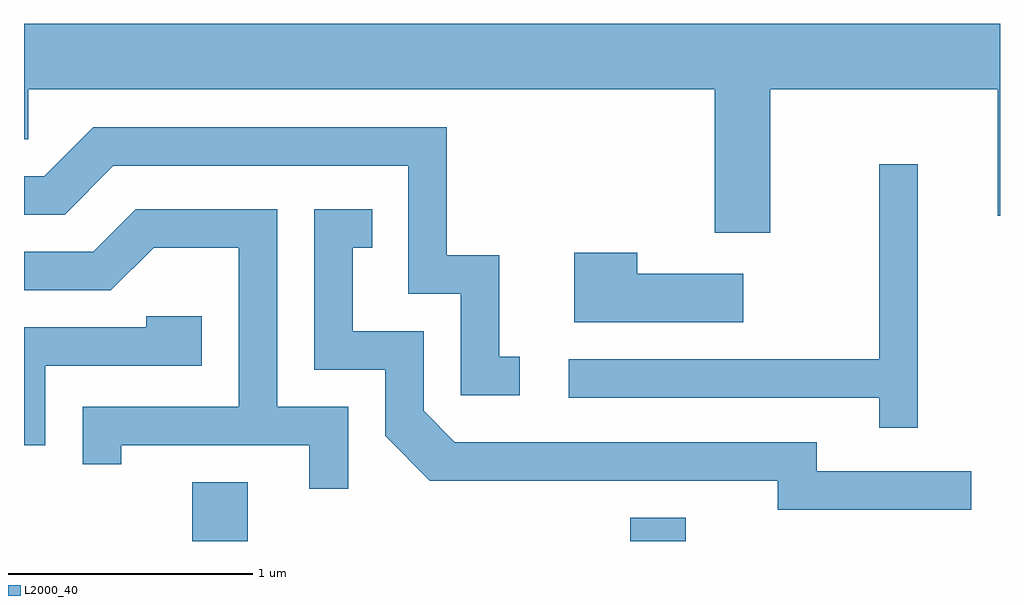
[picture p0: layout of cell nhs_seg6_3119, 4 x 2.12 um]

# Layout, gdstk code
import gdstk
lib = gdstk.Library(unit=1e-6, precision=1e-09)
def R(c, l, rs):  # rectangles x0, y0, x1, y1
    for r in rs: c.add(gdstk.rectangle(r[:2], r[2:], *l))
def P(c, l, *ps):  # polygons
    for p in ps: c.add(gdstk.Polygon(p, *l))
L2000_40 = (2000, 40)

nhs_seg6_3119 = lib.new_cell('nhs_seg6_3119')
R(nhs_seg6_3119, L2000_40, [(280.301,1568.162,280.529,1568.404), (282.096,1568.162,282.324,1568.259)])
P(nhs_seg6_3119, L2000_40, [(282.669,1570.016),(283.601,1570.016),(283.601,1569.496),(283.611,1569.496),(283.611,1570.284),(279.611,1570.284),(279.611,1569.811),(279.629,1569.811),(279.629,1570.016),(282.441,1570.016),(282.441,1569.426),(282.669,1569.426)],
  [(281.643,1568.919),(281.559,1568.919),(281.559,1569.334),(281.344,1569.334),(281.344,1569.859),(279.894,1569.859),(279.694,1569.659),(279.611,1569.659),(279.611,1569.501),(279.777,1569.501),(279.977,1569.701),(281.186,1569.701),(281.186,1569.176),(281.401,1569.176),(281.401,1568.761),(281.643,1568.761)],
  [(283.274,1569.708),(283.116,1569.708),(283.116,1568.909),(281.843,1568.909),(281.843,1568.751),(283.116,1568.751),(283.116,1568.628),(283.274,1568.628)],
  [(280.939,1568.714),(280.649,1568.714),(280.649,1569.524),(280.069,1569.524),(279.894,1569.349),(279.611,1569.349),(279.611,1569.191),(279.967,1569.191),(280.142,1569.366),(280.491,1569.366),(280.491,1568.714),(279.851,1568.714),(279.851,1568.478),(280.009,1568.478),(280.009,1568.556),(280.781,1568.556),(280.781,1568.378),(280.939,1568.378)],
  [(283.493,1568.449),(282.859,1568.449),(282.859,1568.569),(281.377,1568.569),(281.249,1568.697),(281.249,1569.024),(280.959,1569.024),(280.959,1569.366),(281.038,1569.366),(281.038,1569.524),(280.801,1569.524),(280.801,1568.866),(281.091,1568.866),(281.091,1568.594),(281.274,1568.411),(282.701,1568.411),(282.701,1568.291),(283.493,1568.291)],
  [(282.559,1569.259),(282.124,1569.259),(282.124,1569.344),(281.866,1569.344),(281.866,1569.061),(282.559,1569.061)],
  [(279.699,1568.881),(280.339,1568.881),(280.339,1569.084),(280.111,1569.084),(280.111,1569.039),(279.611,1569.039),(279.611,1568.556),(279.699,1568.556)])

lib.write_gds('nhs_seg6_3119.gds')
